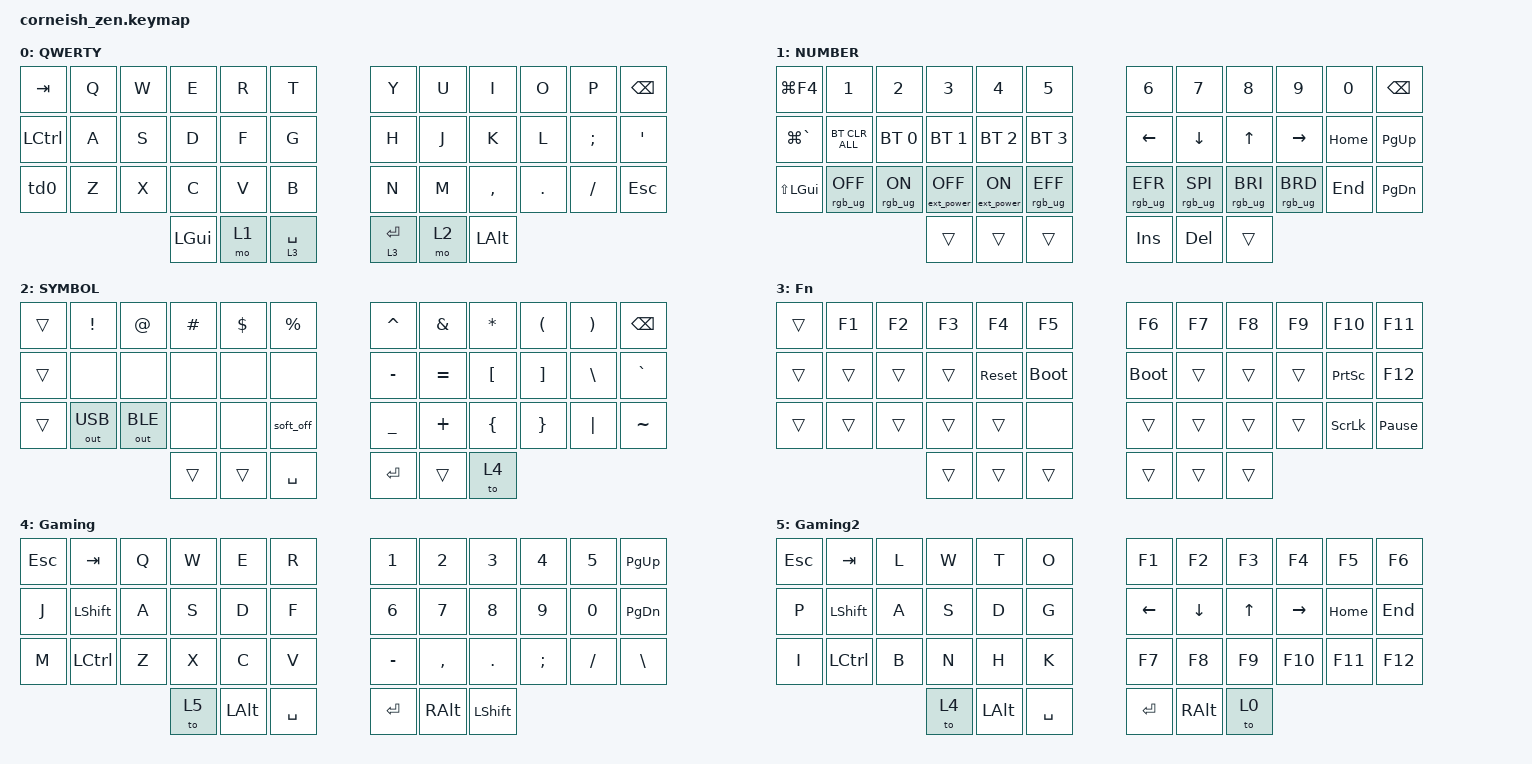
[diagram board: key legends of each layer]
/*
 * Copyright (c) 2020 The ZMK Contributors
 *
 * SPDX-License-Identifier: MIT
 */

#include <behaviors.dtsi>
#include <dt-bindings/zmk/bt.h>
#include <dt-bindings/zmk/ext_power.h>
#include <dt-bindings/zmk/keys.h>
#include <dt-bindings/zmk/outputs.h>
#include <dt-bindings/zmk/rgb.h>

/ {
    chosen {
        zmk,matrix_transform = &default_transform;

        // zmk,matrix_transform = &five_column_transform;
    };
};

/ {
    behaviors {
        td0: td0 {
            compatible = "zmk,behavior-tap-dance";
            label = "TD0";
            #binding-cells = <0>;
            bindings = <&kp LEFT_SHIFT>, <&kp CAPS>;
        };
    };

    keymap {
        compatible = "zmk,keymap";

        default_layer {
            display-name = "QWERTY";

            // --------------------------------------------------------------------------------
            // |  TAB |  Q  |  W  |  E  |  R  |  T  |   |  Y  |  U   |  I  |  O  |  P  | BKSP |
            // | CTRL |  A  |  S  |  D  |  F  |  G  |   |  H  |  J   |  K  |  L  |  ;  |  '   | 
            // | SHFT |  Z  |  X  |  C  |  V  |  B  |   |  N  |  M   |  ,  |  .  |  /  | ESC  |
            //                    | GUI | LWR | SPC |   | ENT | RSE  | ALT |

            bindings = <
&kp TAB    &kp Q  &kp W  &kp E     &kp R  &kp T          &kp Y        &kp U  &kp I         &kp O    &kp P     &kp BSPC
&kp LCTRL  &kp A  &kp S  &kp D     &kp F  &kp G          &kp H        &kp J  &kp K         &kp L    &kp SEMI  &kp SQT
&td0       &kp Z  &kp X  &kp C     &kp V  &kp B          &kp N        &kp M  &kp COMMA     &kp DOT  &kp FSLH  &kp ESC
                         &kp LGUI  &mo 1  &lt 3 SPACE    &lt 3 ENTER  &mo 2  &kp LEFT_ALT
            >;
        };

        lower_layer {
            display-name = "NUMBER";

            // -----------------------------------------------------------------------------------------
            // |  TAB |  1  |  2  |  3  |  4  |  5  |   |  6  |  7  |  8  |  9  |  0  | BKSP |
            // | BTCLR| BT1 | BT2 | BT3 | BT4 | BT5 |   | LFT | DWN |  UP | RGT |     |      |
            // | SHFT |     |     |     |     |     |   |     |     |     |     |     |      |
            //                    | GUI |     | SPC |   | ENT |     | ALT |

            bindings = <
&kp LG(F4)        &kp N1           &kp N2          &kp N3             &kp N4            &kp N5             &kp N6           &kp N7           &kp N8           &kp N9           &kp N0    &kp BSPC
&kp LG(GRAVE)     &bt BT_CLR_ALL   &bt BT_SEL 0    &bt BT_SEL 1       &bt BT_SEL 2      &bt BT_SEL 3       &kp LEFT         &kp DOWN         &kp UP           &kp RIGHT        &kp HOME  &kp PG_UP
&kp LS(LEFT_GUI)  &rgb_ug RGB_OFF  &rgb_ug RGB_ON  &ext_power EP_OFF  &ext_power EP_ON  &rgb_ug RGB_EFF    &rgb_ug RGB_EFR  &rgb_ug RGB_SPI  &rgb_ug RGB_BRI  &rgb_ug RGB_BRD  &kp END   &kp PG_DN
                                                   &trans             &trans            &trans             &kp INS          &kp DEL          &trans
            >;
        };

        raise_layer {
            display-name = "SYMBOL";

            // -----------------------------------------------------------------------------------------
            // |  TAB |  !  |  @  |  #  |  $  |  %  |   |  ^  |  &  |  *  |  (  |  )  | BKSP |
            // | CTRL |     |     |     |     |     |   |  -  |  =  |  [  |  ]  |  \  |  `   |
            // | SHFT |     |     |     |     |     |   |  _  |  +  |  {  |  }  | "|" |  ~   |
            //                    | GUI |     | SPC |   | ENT |     | ALT |

            bindings = <
&trans  &kp EXCL      &kp AT        &kp HASH  &kp DLLR  &kp PRCNT    &kp CARET  &kp AMPS   &kp ASTRK  &kp LPAR  &kp RPAR  &kp BSPC
&trans  &none         &none         &none     &none     &none        &kp MINUS  &kp EQUAL  &kp LBKT   &kp RBKT  &kp BSLH  &kp GRAVE
&trans  &out OUT_USB  &out OUT_BLE  &none     &none     &soft_off    &kp UNDER  &kp PLUS   &kp LBRC   &kp RBRC  &kp PIPE  &kp TILDE
                                    &trans    &trans    &kp SPACE    &kp RET    &trans     &to 4
            >;
        };

        Function {
            display-name = "Fn";
            bindings = <
&trans  &kp F1  &kp F2  &kp F3  &kp F4      &kp F5         &kp F6       &kp F7  &kp F8  &kp F9  &kp F10          &kp F11
&trans  &trans  &trans  &trans  &sys_reset  &bootloader    &bootloader  &trans  &trans  &trans  &kp PRINTSCREEN  &kp F12
&trans  &trans  &trans  &trans  &trans      &none          &trans       &trans  &trans  &trans  &kp SCROLLLOCK   &kp PAUSE_BREAK
                        &trans  &trans      &trans         &trans       &trans  &trans
            >;
        };

        Gaming {
            bindings = <
&kp ESCAPE  &kp TAB    &kp Q  &kp W  &kp E     &kp R        &kp N1     &kp N2     &kp N3     &kp N4    &kp N5    &kp PG_UP
&kp J       &kp LSHFT  &kp A  &kp S  &kp D     &kp F        &kp N6     &kp N7     &kp N8     &kp N9    &kp N0    &kp PG_DN
&kp M       &kp LCTRL  &kp Z  &kp X  &kp C     &kp V        &kp MINUS  &kp COMMA  &kp DOT    &kp SEMI  &kp FSLH  &kp BSLH
                              &to 5  &kp LALT  &kp SPACE    &kp ENTER  &kp RALT   &kp LSHFT
            >;
        };

        Gaming2 {
            bindings = <
&kp ESC  &kp TAB    &kp L  &kp W  &kp T     &kp O        &kp F1    &kp F2    &kp F3  &kp F4     &kp F5    &kp F6
&kp P    &kp LSHFT  &kp A  &kp S  &kp D     &kp G        &kp LEFT  &kp DOWN  &kp UP  &kp RIGHT  &kp HOME  &kp END
&kp I    &kp LCTRL  &kp B  &kp N  &kp H     &kp K        &kp F7    &kp F8    &kp F9  &kp F10    &kp F11   &kp F12
                           &to 4  &kp LALT  &kp SPACE    &kp RET   &kp RALT  &to 0
            >;
        };
    };
};
